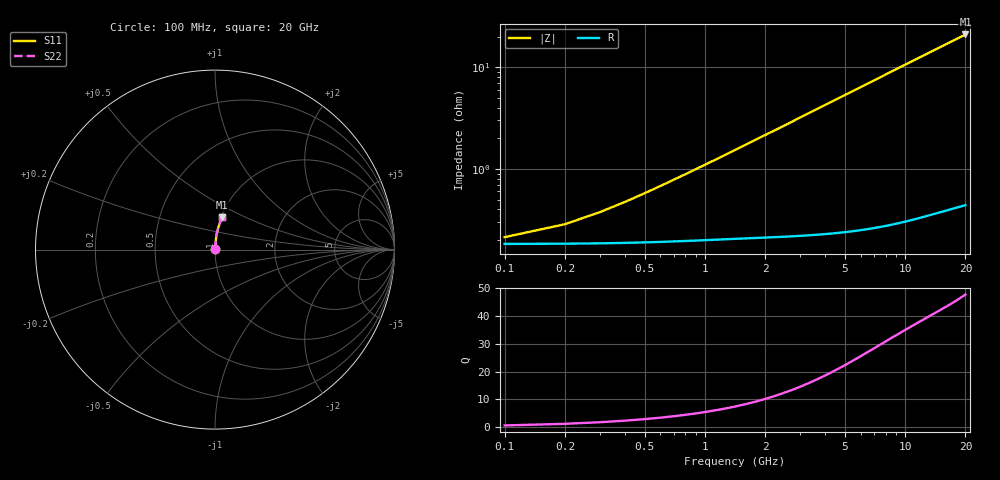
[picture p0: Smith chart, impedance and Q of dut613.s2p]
! Touchstone file exported from HFSS 2024.1.0
!  File:  C:/UserFiles/LocalFiles/RDL_TSV_Batchsim/temp_RDL_top_613_1779779895.aedt
!  Generated:  03:21:03 PM May 26, 2026
!  Design:  RDL_top
!  Project:  temp_RDL_top_613_1779779895
!  Setup:  Setup1
!  Solution:  Sweep
! Variables:
!  dtsv = 10.80580581um
!  hbump = 3um
!  htsv = 93.73um
!  ldown = 100um
!  lrdl = 119.99um
!  p = 40
!  p1 = 45.05um
!  rhole = 1um
!  t = 450um
!  tdown = 3.915915916um
!  trdl = 2.58um
!  wdown = 15.38538539um
!  wrdl = 10.3um
# GHz S MA R 50.000000
! Terminal data exported
! Port[1] = Box2_T1
! Port[2] = Box2_T2
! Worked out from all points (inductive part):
!   200 points, 100 MHz to 20 GHz, reference 50 ohm
!   read as one part in series: L = 172 pH near 600 MHz
!   highest Q = 47.7 at 20 GHz (marker M1), where L = 167 pH
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0.1  0.002054 27.3  0.9982 -0.1  0.9982 -0.1  0.002054 27.3
! Gamma 0 0 0 0
! Port Impedance 50 0 50 0
0.3  0.003375 56.6  0.9981 -0.2  0.9981 -0.2  0.003375 56.6
0.4  0.004195 63.4  0.9981 -0.3  0.9981 -0.3  0.004195 63.4
0.5  0.005051 67.8  0.9981 -0.4  0.9981 -0.4  0.005051 67.8
0.6  0.005925 71.0  0.9981 -0.4  0.9981 -0.4  0.005925 71.0
0.7  0.006808 73.3  0.998 -0.5  0.998 -0.5  0.006808 73.3
0.9  0.00859 76.4  0.998 -0.6  0.998 -0.6  0.00859 76.4
1.2  0.01128 79.2  0.9978 -0.8  0.9978 -0.8  0.01128 79.2
1.4  0.01308 80.5  0.9978 -1.0  0.9978 -1.0  0.01308 80.5
1.7  0.01579 81.8  0.9977 -1.2  0.9977 -1.2  0.01579 81.8
2.2  0.02032 83.1  0.9974 -1.5  0.9974 -1.5  0.02032 83.1
2.8  0.02578 84.0  0.9971 -1.9  0.9971 -1.9  0.02578 84.0
3.5  0.03218 84.6  0.9967 -2.4  0.9967 -2.4  0.03218 84.6
4.2  0.0386 84.9  0.9962 -2.9  0.9962 -2.9  0.0386 84.8
5  0.04596 84.9  0.9955 -3.4  0.9955 -3.4  0.04596 84.9
5.9  0.05428 84.8  0.9946 -4.1  0.9946 -4.1  0.05428 84.8
6.8  0.06262 84.6  0.9937 -4.7  0.9937 -4.7  0.06262 84.6
8.3  0.07655 84.1  0.9918 -5.7  0.9918 -5.7  0.07655 84.1
10.1  0.09331 83.2  0.9894 -6.8  0.9894 -6.8  0.09331 83.2
13.4  0.1239 81.4  0.9843 -9.0  0.9843 -9.0  0.1239 81.4
16.7  0.1542 79.5  0.9785 -11.1  0.9785 -11.1  0.1542 79.5
20  0.184 77.4  0.9721 -13.1  0.9721 -13.1  0.184 77.4
